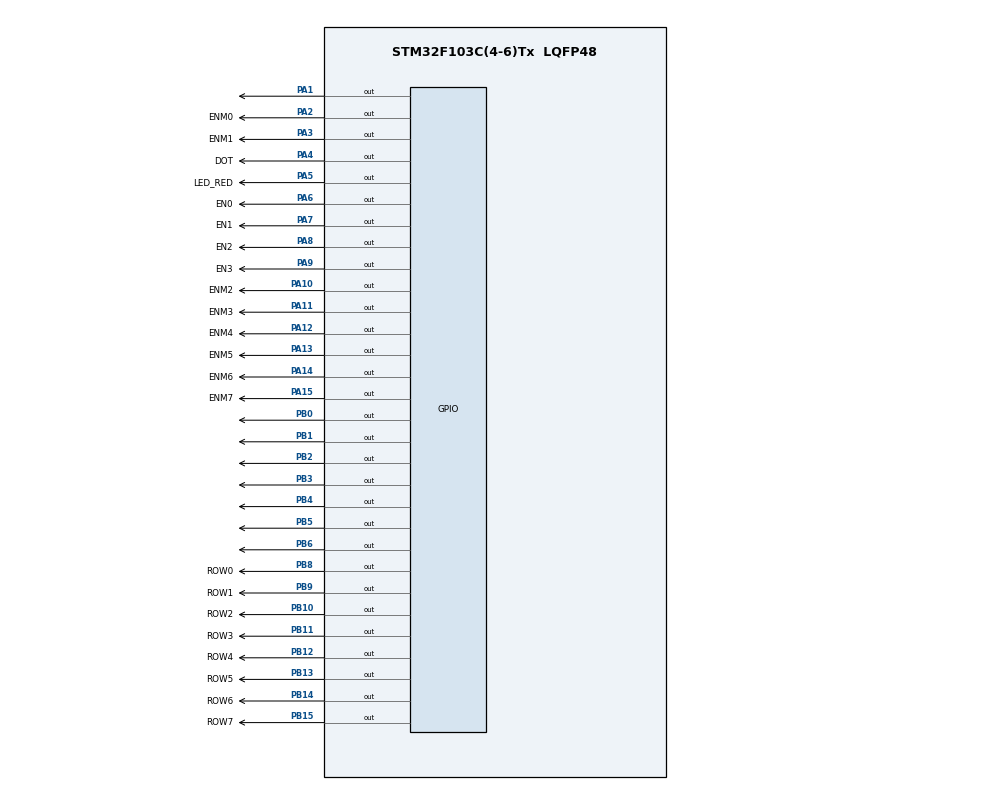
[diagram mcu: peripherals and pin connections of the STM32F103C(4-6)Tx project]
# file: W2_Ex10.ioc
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Mcu.Family=STM32F1
Mcu.Name=STM32F103C(4-6)Tx
Mcu.Package=LQFP48
NVIC.PriorityGroup=NVIC_PRIORITYGROUP_4
NVIC.TIM2_IRQn=true\:0\:0\:false\:false\:true\:true\:true
PA1.Signal=GPIO_Output
PA10.GPIO_Label=ENM2
PA10.Signal=GPIO_Output
PA11.GPIO_Label=ENM3
PA11.Signal=GPIO_Output
PA12.GPIO_Label=ENM4
PA12.Signal=GPIO_Output
PA13.GPIO_Label=ENM5
PA13.Signal=GPIO_Output
PA14.GPIO_Label=ENM6
PA14.Signal=GPIO_Output
PA15.GPIO_Label=ENM7
PA15.Signal=GPIO_Output
PA2.GPIO_Label=ENM0
PA2.Signal=GPIO_Output
PA3.GPIO_Label=ENM1
PA3.Signal=GPIO_Output
PA4.GPIO_Label=DOT
PA4.Signal=GPIO_Output
PA5.GPIO_Label=LED_RED
PA5.Signal=GPIO_Output
PA6.GPIO_Label=EN0
PA6.Signal=GPIO_Output
PA7.GPIO_Label=EN1
PA7.Signal=GPIO_Output
PA8.GPIO_Label=EN2
PA8.Signal=GPIO_Output
PA9.GPIO_Label=EN3
PA9.Signal=GPIO_Output
PB0.Signal=GPIO_Output
PB1.Signal=GPIO_Output
PB10.GPIO_Label=ROW2
PB10.Signal=GPIO_Output
PB11.GPIO_Label=ROW3
PB11.Signal=GPIO_Output
PB12.GPIO_Label=ROW4
PB12.Signal=GPIO_Output
PB13.GPIO_Label=ROW5
PB13.Signal=GPIO_Output
PB14.GPIO_Label=ROW6
PB14.Signal=GPIO_Output
PB15.GPIO_Label=ROW7
PB15.Signal=GPIO_Output
PB2.Signal=GPIO_Output
PB3.Signal=GPIO_Output
PB4.Signal=GPIO_Output
PB5.Signal=GPIO_Output
PB6.Signal=GPIO_Output
PB8.GPIO_Label=ROW0
PB8.Signal=GPIO_Output
PB9.GPIO_Label=ROW1
PB9.Signal=GPIO_Output
PD0-OSC_IN.Mode=HSE-External-Oscillator
PD0-OSC_IN.Signal=RCC_OSC_IN
PD1-OSC_OUT.Mode=HSE-External-Oscillator
PD1-OSC_OUT.Signal=RCC_OSC_OUT
ProjectManager.HeapSize=0x200
ProjectManager.StackSize=0x400
ProjectManager.TargetToolchain=STM32CubeIDE
RCC.APB1Freq_Value=8000000
RCC.APB2Freq_Value=8000000
TIM2.Period=9
TIM2.Prescaler=7999
VP_SYS_VS_ND.Mode=No_Debug
VP_TIM2_VS_ClockSourceINT.Mode=Internal
board=custom

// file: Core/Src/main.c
/* USER CODE BEGIN Header */
/**
  ******************************************************************************
  * @file           : main.c
  * @brief          : Main program body
  ******************************************************************************
  * @attention
  *
  * <h2><center>&copy; Copyright (c) 2021 STMicroelectronics.
  * All rights reserved.</center></h2>
  *
  * This software component is licensed by ST under BSD 3-Clause license,
  * the "License"; You may not use this file except in compliance with the
  * License. You may obtain a copy of the License at:
  *                        opensource.org/licenses/BSD-3-Clause
  *
  ******************************************************************************
  */
/* USER CODE END Header */
#include "main.h"

/* USER CODE BEGIN Includes */
int NUM[10][7]={
		{0,0,0,0,0,0,1},
		{1,0,0,1,1,1,1},
		{0,0,1,0,0,1,0},
		{0,0,0,0,1,1,0},
		{1,0,0,1,1,0,0},
		{0,1,0,0,1,0,0},
		{0,1,0,0,0,0,0},
		{0,0,0,1,1,1,1},
		{0,0,0,0,0,0,0},
		{0,0,0,0,1,0,0},
};

void display7SEG(int num);

#define RESET 0
#define ONE 1
#define TWO 2
#define THREE 3
#define ZERO 4
// Khơi tạo trạng thái đầu tiên
int status = RESET;

void FSM();

const int MAX_LED = 4;
int index_led = 0;
int led_buffer[4] = {1, 5, 0, 8};

void update7SEG(int index);

int hour = 15, minute = 8, second = 50;
void updateClockBuffer();
/* USER CODE END Includes */

TIM_HandleTypeDef htim2;

void SystemClock_Config(void);
static void MX_GPIO_Init(void);
static void MX_TIM2_Init(void);

/* USER CODE BEGIN 0 */
/* USER CODE BEGIN 0 */
int timer0_counter = 0;
int timer0_flag = 0;

int timer1_counter = 0;
int timer1_flag = 0;

int timer2_counter = 0;
int timer2_flag = 0;

int TIMER_CYCLE = 10;

void setTimer0 (int duration){
	timer0_counter = duration / TIMER_CYCLE ;
	timer0_flag = 0;
}

void setTimer1 (int duration){
	timer1_counter = duration / TIMER_CYCLE ;
	timer1_flag = 0;
}

void setTimer2 (int duration){
	timer2_counter = duration / TIMER_CYCLE ;
	timer2_flag = 0;
}

void timer_run(){
	if(timer0_counter > 0){
			timer0_counter --;

			if( timer0_counter == 0){
				timer0_flag = 1;
			}
	}

	if(timer1_counter > 0){
			timer1_counter --;

			if( timer1_counter == 0){
				timer1_flag = 1;
			}
	}

	if(timer2_counter > 0){
			timer2_counter --;

			if( timer2_counter == 0){
				timer2_flag = 1;
			}
	}
}

const int MAX_LED_MATRIX = 8;
int index_led_matrix = 0;
uint8_t matrix_buffer[] = {0x00, 0xFC, 0x16, 0x13, 0x13, 0x16, 0xFC, 0x00};

void displayLEDMatrix(uint8_t bit)
{
	HAL_GPIO_WritePin(ROW0_GPIO_Port, ROW0_Pin, !((bit&(1<<0))>>0));
	HAL_GPIO_WritePin(ROW1_GPIO_Port, ROW1_Pin, !((bit&(1<<1))>>1));
	HAL_GPIO_WritePin(ROW2_GPIO_Port, ROW2_Pin, !((bit&(1<<2))>>2));
	HAL_GPIO_WritePin(ROW3_GPIO_Port, ROW3_Pin, !((bit&(1<<3))>>3));
	HAL_GPIO_WritePin(ROW4_GPIO_Port, ROW4_Pin, !((bit&(1<<4))>>4));
	HAL_GPIO_WritePin(ROW5_GPIO_Port, ROW5_Pin, !((bit&(1<<5))>>5));
	HAL_GPIO_WritePin(ROW6_GPIO_Port, ROW6_Pin, !((bit&(1<<6))>>6));
	HAL_GPIO_WritePin(ROW7_GPIO_Port, ROW7_Pin, !((bit&(1<<7))>>7));
}

void clearLEDMatrix(){
	HAL_GPIO_WritePin(ROW0_GPIO_Port, ROW0_Pin, 1);
	HAL_GPIO_WritePin(ROW1_GPIO_Port, ROW1_Pin, 1);
	HAL_GPIO_WritePin(ROW2_GPIO_Port, ROW2_Pin, 1);
	HAL_GPIO_WritePin(ROW3_GPIO_Port, ROW3_Pin, 1);
	HAL_GPIO_WritePin(ROW4_GPIO_Port, ROW4_Pin, 1);
	HAL_GPIO_WritePin(ROW5_GPIO_Port, ROW5_Pin, 1);
	HAL_GPIO_WritePin(ROW6_GPIO_Port, ROW6_Pin, 1);
	HAL_GPIO_WritePin(ROW7_GPIO_Port, ROW7_Pin, 1);

	HAL_GPIO_WritePin(ENM0_GPIO_Port, ENM0_Pin, 1);
	HAL_GPIO_WritePin(ENM1_GPIO_Port, ENM1_Pin, 1);
	HAL_GPIO_WritePin(ENM2_GPIO_Port, ENM2_Pin, 1);
	HAL_GPIO_WritePin(ENM3_GPIO_Port, ENM3_Pin, 1);
	HAL_GPIO_WritePin(ENM4_GPIO_Port, ENM4_Pin, 1);
	HAL_GPIO_WritePin(ENM5_GPIO_Port, ENM5_Pin, 1);
	HAL_GPIO_WritePin(ENM6_GPIO_Port, ENM6_Pin, 1);
	HAL_GPIO_WritePin(ENM7_GPIO_Port, ENM7_Pin, 1);
}

int temp = 0;
void updateLEDMatrix (int index){
	switch (index)
	{
		case 0: {
			HAL_GPIO_WritePin(ENM7_GPIO_Port, ENM7_Pin, 1);
			displayLEDMatrix(matrix_buffer[(index + temp) % 8]);
			HAL_GPIO_WritePin(ENM0_GPIO_Port, ENM0_Pin, 0);
		  break;
		}
		case 1: {
			HAL_GPIO_WritePin(ENM0_GPIO_Port, ENM0_Pin, 1);
			displayLEDMatrix(matrix_buffer[(index + temp) % 8]);
			HAL_GPIO_WritePin(ENM1_GPIO_Port, ENM1_Pin, 0);
		  break;
		}
		case 2: {
			HAL_GPIO_WritePin(ENM1_GPIO_Port, ENM1_Pin, 1);
			displayLEDMatrix(matrix_buffer[(index + temp) % 8]);
			HAL_GPIO_WritePin(ENM2_GPIO_Port, ENM2_Pin, 0);
		  break;
		}
		case 3: {
			HAL_GPIO_WritePin(ENM2_GPIO_Port, ENM2_Pin, 1);
			displayLEDMatrix(matrix_buffer[(index + temp) % 8]);
			HAL_GPIO_WritePin(ENM3_GPIO_Port, ENM3_Pin, 0);
		  break;
		}
		case 4: {
			HAL_GPIO_WritePin(ENM3_GPIO_Port, ENM3_Pin, 1);
			displayLEDMatrix(matrix_buffer[(index + temp) % 8]);
			HAL_GPIO_WritePin(ENM4_GPIO_Port, ENM4_Pin, 0);
		  break;
		}
		case 5: {
			HAL_GPIO_WritePin(ENM4_GPIO_Port, ENM4_Pin, 1);
			displayLEDMatrix(matrix_buffer[(index + temp) % 8]);
			HAL_GPIO_WritePin(ENM5_GPIO_Port, ENM5_Pin, 0);
		  break;
		}
		case 6: {
			HAL_GPIO_WritePin(ENM5_GPIO_Port, ENM5_Pin, 1);
			displayLEDMatrix(matrix_buffer[(index + temp) % 8]);
			HAL_GPIO_WritePin(ENM6_GPIO_Port, ENM6_Pin, 0);
		  break;
		}
		case 7: {
			HAL_GPIO_WritePin(ENM6_GPIO_Port, ENM6_Pin, 1);
			displayLEDMatrix(matrix_buffer[(index + temp) % 8]);
			HAL_GPIO_WritePin(ENM7_GPIO_Port, ENM7_Pin, 0);
		  break;
		}
	}
}
/* USER CODE END 0 */

int main(void)
{

  /* MCU Configuration--------------------------------------------------------*/

  /* Reset of all peripherals, Initializes the Flash interface and the Systick. */
  HAL_Init();

  /* Configure the system clock */
  SystemClock_Config();

  /* Initialize all configured peripherals */
  MX_GPIO_Init();
  MX_TIM2_Init();
  /* USER CODE BEGIN 2 */
  HAL_TIM_Base_Start_IT (&htim2 );
  /* USER CODE END 2 */

  /* Infinite loop */
  /* USER CODE BEGIN WHILE */
  setTimer0(1000);
  setTimer1(25);
  setTimer2(250);

  FSM();

  while (1)
  {
    /* USER CODE END WHILE */
	  if( timer0_flag == 1){
		  second ++;
		  if ( second >= 60) {
			  second = 0;
			  minute ++;
		  }

		  if( minute >= 60) {
			  minute = 0;
			  hour ++;
		  }

		  if( hour >=24){
			  hour = 0;
		  }

		  // update hour, minute, second variables
		  updateClockBuffer();

		  // reset timer0 - delay 1s
		  setTimer0(1000) ;
	  }

	  // Matrix LED
	  if (timer1_flag == 1){
		  if (index_led_matrix > 7){
			  index_led_matrix = 0;
			  temp++;
		  }

		  if (temp > 8){
			  temp = 0;
		  }

		  updateLEDMatrix(index_led_matrix++);

		  // reset timer1 - delay 0.025s
		  setTimer1(25);
	  }

	  // Đồng hồ
	  if (timer2_flag == 1){
		  FSM();

		  // reset timer2 - delay 0.25s
		  setTimer2(250);
	  }
  }
}

void SystemClock_Config(void)
{
  RCC_OscInitTypeDef RCC_OscInitStruct = {0};
  RCC_ClkInitTypeDef RCC_ClkInitStruct = {0};

  /** Initializes the RCC Oscillators according to the specified parameters
  * in the RCC_OscInitTypeDef structure.
  */
  RCC_OscInitStruct.OscillatorType = RCC_OSCILLATORTYPE_HSI;
  RCC_OscInitStruct.HSIState = RCC_HSI_ON;
  RCC_OscInitStruct.HSICalibrationValue = RCC_HSICALIBRATION_DEFAULT;
  RCC_OscInitStruct.PLL.PLLState = RCC_PLL_NONE;
  if (HAL_RCC_OscConfig(&RCC_OscInitStruct) != HAL_OK)
  {
    Error_Handler();
  }
  /** Initializes the CPU, AHB and APB buses clocks
  */
  RCC_ClkInitStruct.ClockType = RCC_CLOCKTYPE_HCLK|RCC_CLOCKTYPE_SYSCLK
                              |RCC_CLOCKTYPE_PCLK1|RCC_CLOCKTYPE_PCLK2;
  RCC_ClkInitStruct.SYSCLKSource = RCC_SYSCLKSOURCE_HSI;
  RCC_ClkInitStruct.AHBCLKDivider = RCC_SYSCLK_DIV1;
  RCC_ClkInitStruct.APB1CLKDivider = RCC_HCLK_DIV1;
  RCC_ClkInitStruct.APB2CLKDivider = RCC_HCLK_DIV1;

  if (HAL_RCC_ClockConfig(&RCC_ClkInitStruct, FLASH_LATENCY_0) != HAL_OK)
  {
    Error_Handler();
  }
}

static void MX_TIM2_Init(void)
{

  TIM_ClockConfigTypeDef sClockSourceConfig = {0};
  TIM_MasterConfigTypeDef sMasterConfig = {0};

  htim2.Instance = TIM2;
  htim2.Init.Prescaler = 7999;
  htim2.Init.CounterMode = TIM_COUNTERMODE_UP;
  htim2.Init.Period = 9;
  htim2.Init.ClockDivision = TIM_CLOCKDIVISION_DIV1;
  htim2.Init.AutoReloadPreload = TIM_AUTORELOAD_PRELOAD_DISABLE;
  if (HAL_TIM_Base_Init(&htim2) != HAL_OK)
  {
    Error_Handler();
  }
  sClockSourceConfig.ClockSource = TIM_CLOCKSOURCE_INTERNAL;
  if (HAL_TIM_ConfigClockSource(&htim2, &sClockSourceConfig) != HAL_OK)
  {
    Error_Handler();
  }
  sMasterConfig.MasterOutputTrigger = TIM_TRGO_RESET;
  sMasterConfig.MasterSlaveMode = TIM_MASTERSLAVEMODE_DISABLE;
  if (HAL_TIMEx_MasterConfigSynchronization(&htim2, &sMasterConfig) != HAL_OK)
  {
    Error_Handler();
  }

}

static void MX_GPIO_Init(void)
{
  GPIO_InitTypeDef GPIO_InitStruct = {0};

  /* GPIO Ports Clock Enable */
  __HAL_RCC_GPIOD_CLK_ENABLE();
  __HAL_RCC_GPIOA_CLK_ENABLE();
  __HAL_RCC_GPIOB_CLK_ENABLE();

  /*Configure GPIO pin Output Level */
  HAL_GPIO_WritePin(GPIOA, GPIO_PIN_1|ENM0_Pin|ENM1_Pin|DOT_Pin
                          |LED_RED_Pin|EN0_Pin|EN1_Pin|EN2_Pin
                          |EN3_Pin|ENM2_Pin|ENM3_Pin|ENM4_Pin
                          |ENM5_Pin|ENM6_Pin|ENM7_Pin, GPIO_PIN_RESET);

  /*Configure GPIO pin Output Level */
  HAL_GPIO_WritePin(GPIOB, GPIO_PIN_0|GPIO_PIN_1|GPIO_PIN_2|ROW2_Pin
                          |ROW3_Pin|ROW4_Pin|ROW5_Pin|ROW6_Pin
                          |ROW7_Pin|GPIO_PIN_3|GPIO_PIN_4|GPIO_PIN_5
                          |GPIO_PIN_6|ROW0_Pin|ROW1_Pin, GPIO_PIN_RESET);

  /*Configure GPIO pins : PA1 ENM0_Pin ENM1_Pin DOT_Pin
                           LED_RED_Pin EN0_Pin EN1_Pin EN2_Pin
                           EN3_Pin ENM2_Pin ENM3_Pin ENM4_Pin
                           ENM5_Pin ENM6_Pin ENM7_Pin */
  GPIO_InitStruct.Pin = GPIO_PIN_1|ENM0_Pin|ENM1_Pin|DOT_Pin
                          |LED_RED_Pin|EN0_Pin|EN1_Pin|EN2_Pin
                          |EN3_Pin|ENM2_Pin|ENM3_Pin|ENM4_Pin
                          |ENM5_Pin|ENM6_Pin|ENM7_Pin;
  GPIO_InitStruct.Mode = GPIO_MODE_OUTPUT_PP;
  GPIO_InitStruct.Pull = GPIO_NOPULL;
  GPIO_InitStruct.Speed = GPIO_SPEED_FREQ_LOW;
  HAL_GPIO_Init(GPIOA, &GPIO_InitStruct);

  /*Configure GPIO pins : PB0 PB1 PB2 ROW2_Pin
                           ROW3_Pin ROW4_Pin ROW5_Pin ROW6_Pin
                           ROW7_Pin PB3 PB4 PB5
                           PB6 ROW0_Pin ROW1_Pin */
  GPIO_InitStruct.Pin = GPIO_PIN_0|GPIO_PIN_1|GPIO_PIN_2|ROW2_Pin
                          |ROW3_Pin|ROW4_Pin|ROW5_Pin|ROW6_Pin
                          |ROW7_Pin|GPIO_PIN_3|GPIO_PIN_4|GPIO_PIN_5
                          |GPIO_PIN_6|ROW0_Pin|ROW1_Pin;
  GPIO_InitStruct.Mode = GPIO_MODE_OUTPUT_PP;
  GPIO_InitStruct.Pull = GPIO_NOPULL;
  GPIO_InitStruct.Speed = GPIO_SPEED_FREQ_LOW;
  HAL_GPIO_Init(GPIOB, &GPIO_InitStruct);

}

/* USER CODE BEGIN 4 */
void HAL_TIM_PeriodElapsedCallback ( TIM_HandleTypeDef * htim ){
	timer_run();
}

void display7SEG(int num)
{
	HAL_GPIO_WritePin(GPIOB, GPIO_PIN_0, NUM[num][0]);
	HAL_GPIO_WritePin(GPIOB, GPIO_PIN_1, NUM[num][1]);
	HAL_GPIO_WritePin(GPIOB, GPIO_PIN_2, NUM[num][2]);
	HAL_GPIO_WritePin(GPIOB, GPIO_PIN_3, NUM[num][3]);
	HAL_GPIO_WritePin(GPIOB, GPIO_PIN_4, NUM[num][4]);
	HAL_GPIO_WritePin(GPIOB, GPIO_PIN_5, NUM[num][5]);
	HAL_GPIO_WritePin(GPIOB, GPIO_PIN_6, NUM[num][6]);
}

void update7SEG (int index ){
	switch (index ){
		case 0:
			// Display the first 7 SEG with led_buffer [0]
			display7SEG(led_buffer[0]);
			break ;

		case 1:
			// Display the second 7 SEG with led_buffer [1]
			display7SEG(led_buffer[1]);
			break ;

		case 2:
			// Display the third 7 SEG with led_buffer [2]
			display7SEG(led_buffer[2]);
			break ;

		case 3:
			// Display the forth 7 SEG with led_buffer [3]
			// sáng đèn thứ hai , tắt các đèn còn lại
			display7SEG(led_buffer[3]);
			break ;

		default :
			break ;
	}
}

void updateClockBuffer(){
	led_buffer[0] = hour / 10;
	led_buffer[1] = hour % 10;
	led_buffer[2] = minute / 10;
	led_buffer[3] = minute % 10;
}

void FSM(){
	switch (status) {
		case RESET:
			// tắt tất cả đèn
			// 4 đèn 7SEG
			HAL_GPIO_WritePin(EN0_GPIO_Port, EN0_Pin, 1);
			HAL_GPIO_WritePin(EN1_GPIO_Port, EN1_Pin, 1);
			HAL_GPIO_WritePin(EN2_GPIO_Port, EN2_Pin, 1);
			HAL_GPIO_WritePin(EN3_GPIO_Port, EN3_Pin, 1);

			// đèn LED_RED
			HAL_GPIO_WritePin(LED_RED_GPIO_Port, LED_RED_Pin, 1);

			// đèn DOT
			HAL_GPIO_WritePin(DOT_GPIO_Port, DOT_Pin, 1);

			// LED Matrix
			clearLEDMatrix();

			status = ONE;
			break;

		case ONE:
			// sáng đèn thứ nhất LED = 1, tắt các đèn còn lại
			HAL_GPIO_WritePin(EN3_GPIO_Port, EN3_Pin, 1);
			update7SEG(0);
			HAL_GPIO_WritePin(EN0_GPIO_Port, EN0_Pin, 0);

			status = TWO;
			break;

		case TWO:
			// sáng đèn thứ hai LED = 2, tắt các đèn còn lại
			HAL_GPIO_WritePin(EN0_GPIO_Port, EN0_Pin, 1);
			update7SEG(1);
			HAL_GPIO_WritePin(EN1_GPIO_Port, EN1_Pin, 0);

			status = THREE;
			break;

		case THREE:
			// sáng đèn thứ ba LED = 3, tắt các đèn còn lại
			HAL_GPIO_WritePin(EN1_GPIO_Port, EN1_Pin, 1);
			update7SEG(2);
			HAL_GPIO_WritePin(EN2_GPIO_Port, EN2_Pin, 0);

			status = ZERO;
			break;

		case ZERO:
			// sáng đèn thứ tư LED = 0, tắt các đèn còn lại
			HAL_GPIO_WritePin(EN2_GPIO_Port, EN2_Pin, 1);
			update7SEG(3);
			HAL_GPIO_WritePin(EN3_GPIO_Port, EN3_Pin, 0);

			// chớp đèn sau 1s
			HAL_GPIO_TogglePin(DOT_GPIO_Port, DOT_Pin);
			HAL_GPIO_TogglePin(LED_RED_GPIO_Port, LED_RED_Pin);

			status = ONE;
			break;

		default:
			// tắt tất cả đèn
			// 4 đèn 7SEG
			HAL_GPIO_WritePin(EN0_GPIO_Port, EN0_Pin, 1);
			HAL_GPIO_WritePin(EN1_GPIO_Port, EN1_Pin, 1);
			HAL_GPIO_WritePin(EN2_GPIO_Port, EN2_Pin, 1);
			HAL_GPIO_WritePin(EN3_GPIO_Port, EN3_Pin, 1);

			// đèn LED_RED
			HAL_GPIO_WritePin(LED_RED_GPIO_Port, LED_RED_Pin, 1);

			// đèn DOT
			HAL_GPIO_WritePin(DOT_GPIO_Port, DOT_Pin, 1);

			status = RESET;
			break;
	}
}

/* USER CODE END 4 */

void Error_Handler(void)
{
  __disable_irq();
  while (1)
  {
  }
}

/************************ (C) COPYRIGHT STMicroelectronics *****END OF FILE****/
